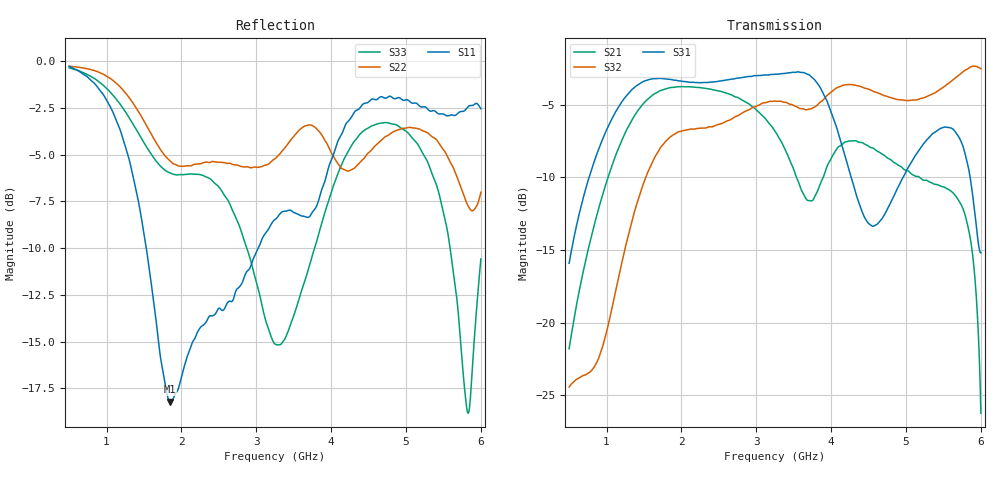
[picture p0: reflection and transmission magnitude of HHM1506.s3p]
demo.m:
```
close all
addpath('..');
pmm_setup

opts=pmm_default;

%% A simple example to get start
% [G,W,F,H]=pmm('symind.s2p', 5, opts);
% plot_xf(G,F,H)

%% A medium-size problem
filename = 'HHM1506.s3p';
% Vector fitting only
% opts.method='vf_only';
% [G,W,F,H]=pmm(filename, 20, opts);
% figure; plot_xf(G,F,H);legend('Data','Model','Error');
% figure; plot_haeig(G);
% 
% %SDP method 
% opts.method='sdp';
% [G,W,F,H]=pmm(filename, 20, opts);
% figure; plot_xf(G,F,H);
% 
% % Local compensation
% opts.method='lc_only';
% [G1,W1,F,H]=pmm(filename, 20, opts);
% figure; plot_xf(G1,F,H);
% %figure; plot_haeig(G);

% Local compensation + DAO method
opts.method='lc_dao';
[G,W,F,H]=pmm('HHM1506.s3p', 20, opts);
figure; plot_xf(G,F,H);legend('Data','Model','Error');
figure; plot_haeig(G);
```
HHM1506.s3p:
! Port assignments
!  [o  ] 3
!  1 [o  ] 2
! Measurement condition
!  Operating Temperature = 25 Cel
!  DC Bias Current = 0 A
! TDK Corporation
# MHz S MA R 50
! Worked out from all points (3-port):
!   551 points, 500 MHz to 6 GHz, reference 50 ohm
!   strongest paths, dB at 500 MHz, 1.87 GHz, 3.25 GHz, 4.63 GHz, 6 GHz:
!     S31: -15.9, -3.3, -2.9, -13.1, -15.2
!     S32: -24.4, -7.1, -4.7, -4.2, -2.5
!     S21: -21.8, -3.8, -6.8, -8.2, -26.2
!   lowest |S11| = -18.2 dB at 1.85 GHz (marker M1), VSWR 1.28, Z = 40.5 + j5.92 ohm
!   |S11| at or under -10 dB: 1.531 GHz to 3.026 GHz (1.495 GHz wide, 65.6 % of centre)
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500  0.9672 -105.7  0.08218 -73.1  0.1617 101.0
     0.08137 -73.5  0.9684 134.2  0.05993 48.3
     0.1602 100.8  0.06004 48.5  0.9585 130.5
1850  0.123 144.2  0.6472 109.8  0.6916 -74.8
      0.6449 110.1  0.5401 -54.6  0.4348 -46.8
      0.6886 -74.1  0.436 -46.5  0.5018 -62.6
3200  0.3667 168.9  0.4786 -26.3  0.7137 160.2
      0.4769 -25.3  0.5387 81.0  0.5712 109.4
      0.716 160.4  0.5782 108.6  0.183 52.0
4430  0.768 -107.9  0.4205 12.1  0.238 66.5
      0.415 13.2  0.5473 -62.5  0.6325 10.3
      0.2353 66.8  0.6449 10.4  0.6499 -102.4
6000  0.7452 91.7  0.04867 154.2  0.1729 44.1
      0.04874 154.8  0.4459 -94.1  0.754 -141.7
      0.174 44.7  0.7487 -142.6  0.2958 -42.0
